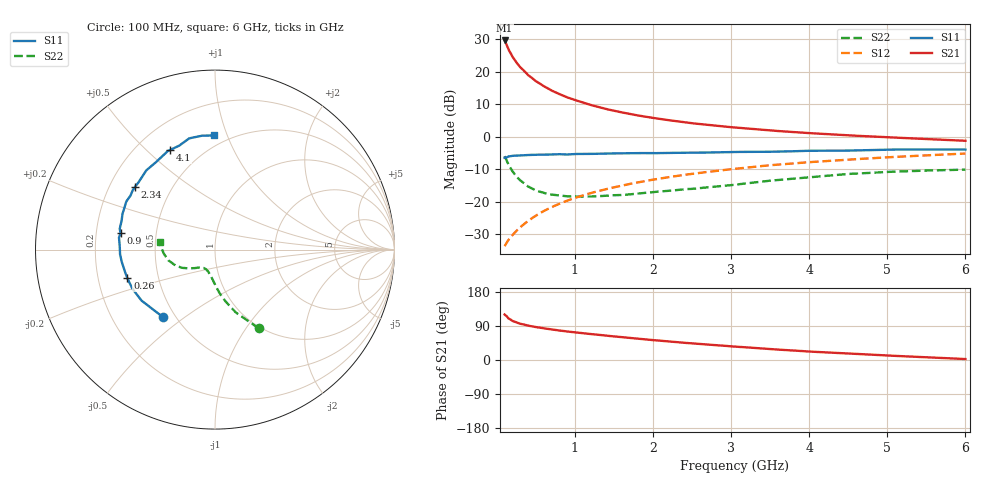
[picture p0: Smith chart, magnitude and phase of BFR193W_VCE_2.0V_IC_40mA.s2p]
! (c) 2015  Infineon Technologies AG, Munich
! Infineon Technologies  Discrete & RF Semiconductors
! BFR193W
! VCE =  2.0 V,  IC =  40 mA
! Common Emitter S-Parameters:  Nov 2015
# GHz  S  MA  R  50
!  f  S11  S21  S12  S22
! GHz  MAG  ANG  MAG  ANG  MAG  ANG  MAG  ANG
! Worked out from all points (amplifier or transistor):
!   192 points, 100 MHz to 6 GHz, reference 50 ohm
!   highest |S21| = 29.7 dB at 100 MHz (marker M1)
!   |S21| within 3 dB of that: start of sweep to 155.2 MHz
!   unconditionally stable (mu >= 1): 515 MHz to 2.542 GHz
!   at 440 MHz: K = 0.98, MSG = 21.8 dB, |S12| = -25.3 dB
!   at 1.7 GHz: K = 1.03, MAG = 9.8 dB, |S12| = -14.5 dB
!   at 6 GHz: K = 0.93, MSG = 2.0 dB, |S12| = -5.2 dB
!   S11 on the Smith chart (normalised r, x): 100 MHz: 0.43, -0.42; 260 MHz: 0.33, -0.14; 900 MHz: 0.31, +0.08; 2.34 GHz: 0.31, +0.32; 4.1 GHz: 0.34, +0.59; 6 GHz: 0.42, +0.90
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0.1  0.4749 -127.8  30.55 120.0  0.0206 59.1  0.5022 -60.9
0.15  0.4982 -145.2  22.16 109.7  0.0258 60.0  0.3698 -71.6
0.2  0.509 -154.5  17.21 103.2  0.0304 62.0  0.2945 -78.5
0.24  0.5115 -159.6  14.64 100.0  0.0343 63.8  0.2541 -82.7
0.26  0.5132 -161.9  13.57 98.4  0.0363 64.6  0.238 -84.6
0.3  0.5162 -165.7  11.82 95.6  0.0402 65.9  0.2131 -87.5
0.4  0.5239 -172.5  8.952 90.6  0.0503 68.8  0.1716 -93.8
0.5  0.5296 -177.1  7.213 86.8  0.0608 70.2  0.1486 -98.6
0.6  0.5303 179.0  6.042 83.6  0.0715 71.0  0.1363 -103.7
0.7  0.5335 175.9  5.177 80.5  0.082 71.5  0.1285 -107.0
0.8  0.5392 172.8  4.558 77.8  0.0926 71.6  0.1247 -110.3
0.9  0.5336 170.2  4.06 75.3  0.1034 71.5  0.1204 -113.0
1.1  0.5435 165.3  3.387 70.9  0.1246 70.7  0.1198 -118.2
1.2  0.5446 162.9  3.095 68.5  0.1352 70.3  0.1199 -121.1
1.5  0.5536 157.2  2.518 62.2  0.1663 68.8  0.1258 -126.9
1.8  0.5622 151.5  2.139 56.3  0.1976 66.6  0.1331 -131.6
2.08  0.5611 146.1  1.893 51.2  0.2263 64.5  0.143 -134.6
2.34  0.5662 141.9  1.715 46.5  0.2527 62.4  0.1529 -137.5
3.1  0.5843 129.5  1.374 34.7  0.3258 55.8  0.1857 -145.9
4.1  0.6089 114.3  1.122 21.3  0.4137 46.7  0.2431 -160.3
5.1  0.636 101.8  0.973 10.9  0.4898 37.8  0.2898 -177.5
6  0.6361 90.3  0.868 2.5  0.5519 29.9  0.3116 172.1
